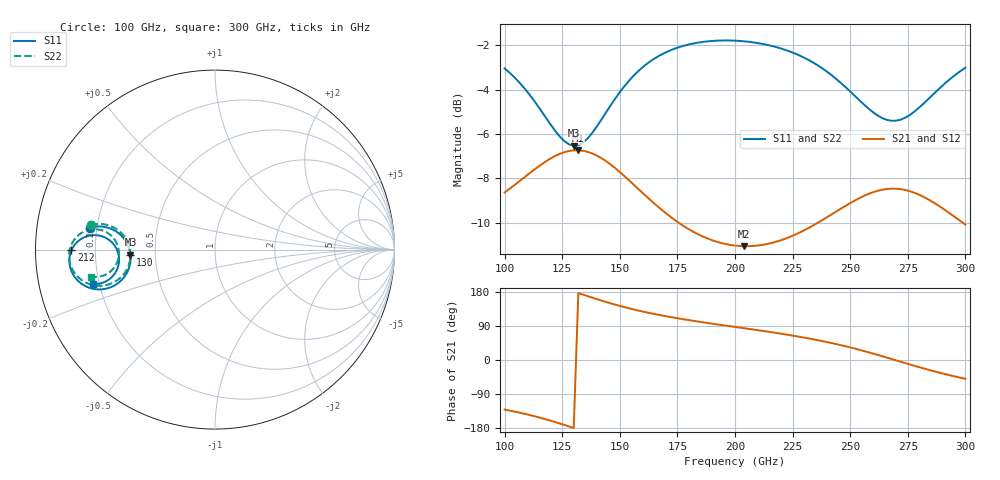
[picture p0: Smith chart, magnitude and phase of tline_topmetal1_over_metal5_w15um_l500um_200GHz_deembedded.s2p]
! Created with skrf 2.0.1 (http://scikit-rf.org).
# GHz S DB R 50.0
!freq dBS11 angS11 dBS21 angS21 dBS12 angS12 dBS22 angS22
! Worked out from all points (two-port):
!   101 points, 100 GHz to 300 GHz, reference 50 ohm
!   highest |S21| = -6.73 dB at 132 GHz (marker M1); lowest = -11.1 dB at 204 GHz (marker M2)
!   |S21| within 3 dB of the highest: start of sweep to 172.1 GHz; 240.2 GHz to 295.3 GHz (55.16 GHz wide, 20.6 % of centre)
!   lowest |S11| = -6.5 dB at 130 GHz (marker M3), VSWR 2.79, Z = 18 - j1.34 ohm
!   |S11| at or under -10 dB: nowhere
!   |S22| runs from -6.5 to -1.8 dB; largest |S21 - S12| = 3.5e-16
!   S11 on the Smith chart (normalised r, x): 100 GHz: 0.17, +0.09; 130 GHz: 0.36, -0.03; 212 GHz: 0.11, -0.00; 300 GHz: 0.17, -0.13
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100  -3.04 170.0  -8.63 -130.8  -8.63 -130.8  -3.04 168.8
108  -3.87 168.5  -8.00 -141.1  -8.00 -141.1  -3.87 167.2
116  -4.97 169.4  -7.37 -153.3  -7.37 -153.3  -4.97 168.1
124  -6.12 175.4  -6.89 -167.6  -6.89 -167.6  -6.12 173.9
130  -6.53 -176.5  -6.73 -179.4  -6.73 -179.4  -6.53 -178.0
132  -6.50 -173.5  -6.73 176.6  -6.73 176.6  -6.51 -175.0
134  -6.39 -170.6  -6.75 172.6  -6.75 172.6  -6.40 -172.1
142  -5.35 -162.4  -7.09 157.0  -7.09 157.0  -5.36 -164.0
150  -4.12 -160.1  -7.71 142.8  -7.71 142.8  -4.12 -161.9
158  -3.17 -161.4  -8.47 130.6  -8.47 130.6  -3.17 -163.2
168  -2.42 -164.7  -9.40 117.8  -9.40 117.8  -2.43 -166.7
184  -1.88 -170.6  -10.52 101.4  -10.52 101.4  -1.89 -172.7
200  -1.79 -176.0  -11.02 87.3  -11.02 87.3  -1.80 -178.3
204  -1.82 -177.2  -11.05 83.8  -11.05 83.8  -1.83 -179.6
212  -1.94 -179.7  -10.99 76.8  -10.99 76.8  -1.95 177.8
234  -2.79 174.4  -10.11 54.5  -10.11 54.5  -2.79 171.6
244  -3.52 173.1  -9.49 41.8  -9.49 41.8  -3.53 170.2
252  -4.28 173.9  -9.00 30.1  -9.00 30.1  -4.29 171.0
268  -5.40 -175.8  -8.46 2.6  -8.46 2.6  -5.42 -178.9
276  -5.13 -169.0  -8.58 -11.9  -8.58 -11.9  -5.15 -172.1
284  -4.41 -164.7  -8.95 -25.8  -8.95 -25.8  -4.43 -167.9
300  -3.01 -164.3  -10.08 -49.5  -10.08 -49.5  -3.02 -167.7
